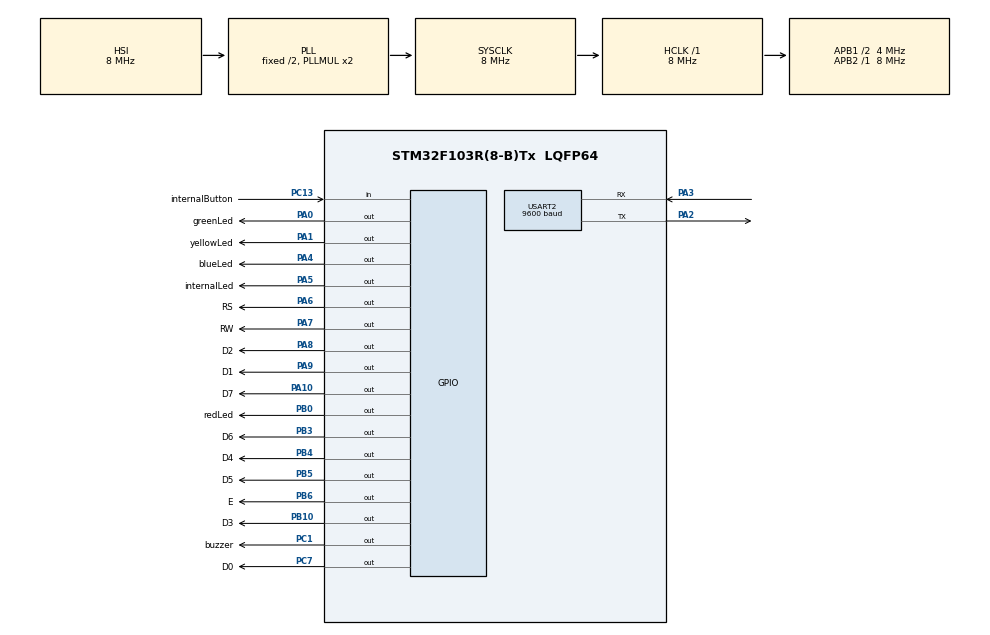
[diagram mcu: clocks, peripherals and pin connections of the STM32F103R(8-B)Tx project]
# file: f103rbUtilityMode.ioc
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Mcu.Family=STM32F1
Dma.USART2_TX.1.MemInc=DMA_MINC_ENABLE
PA6.GPIO_Label=RS
PB0.GPIO_Label=redLed
PB6.GPIO_Label=E
RCC.SYSCLKSource=RCC_SYSCLKSOURCE_PLLCLK
ProjectManager.StackSize=0x400
PD1-OSC_OUT.Signal=RCC_OSC_OUT
Dma.USART2_RX.0.Priority=DMA_PRIORITY_HIGH
Dma.USART2_RX.0.PeriphDataAlignment=DMA_PDATAALIGN_WORD
RCC.HCLKFreq_Value=8000000
RCC.APB2TimFreq_Value=8000000
PB6.Signal=GPIO_Output
PC7.Signal=GPIO_Output
Dma.USART2_TX.1.Mode=DMA_CIRCULAR
PA1.GPIO_PuPd=GPIO_PULLDOWN
RCC.AHBFreq_Value=8000000
PA4.GPIO_PuPd=GPIO_PULLDOWN
PC1.GPIO_PuPd=GPIO_PULLDOWN
RCC.RTCClockSelection=RCC_RTCCLKSOURCE_LSE
Dma.USART2_RX.0.MemDataAlignment=DMA_MDATAALIGN_WORD
PC14-OSC32_IN.Mode=LSE-External-Oscillator
PA14.Mode=Serial_Wire
Dma.USART2_TX.1.Instance=DMA1_Channel7
PA5.GPIO_PuPd=GPIO_PULLDOWN
PA10.GPIO_Label=D7
Dma.USART2_RX.0.Instance=DMA1_Channel6
PA8.Signal=GPIO_Output
Mcu.Package=LQFP64
PA6.Signal=GPIO_Output
Dma.USART2_RX.0.PeriphInc=DMA_PINC_DISABLE
USART2.VirtualMode=VM_ASYNC
PC13-TAMPER-RTC.GPIO_PuPd=GPIO_PULLDOWN
PA10.Signal=GPIO_Output
PB5.GPIO_Label=D5
Dma.Request1=USART2_TX
RCC.APB1TimFreq_Value=8000000
Dma.Request0=USART2_RX
PA4.GPIO_Label=blueLed
PB4.Signal=GPIO_Output
PA3.Signal=USART2_RX
PB3.GPIO_Label=D6
PC15-OSC32_OUT.Mode=LSE-External-Oscillator
NVIC.DMA1_Channel6_IRQn=true\:0\:0\:false\:false\:true\:false\:true
Dma.USART2_TX.1.Priority=DMA_PRIORITY_LOW
PD1-OSC_OUT.Mode=HSE-External-Clock-Source
PA9.GPIO_Label=D1
Dma.USART2_RX.0.Direction=DMA_PERIPH_TO_MEMORY
PC13-TAMPER-RTC.Signal=GPIO_Input
PD0-OSC_IN.Signal=RCC_OSC_IN
RCC.APB1CLKDivider=RCC_HCLK_DIV2
PC14-OSC32_IN.Signal=RCC_OSC32_IN
Dma.USART2_TX.1.PeriphDataAlignment=DMA_PDATAALIGN_WORD
USART2.BaudRate=9600
PA0-WKUP.GPIO_Label=greenLed
PA0-WKUP.Signal=GPIO_Output
Dma.USART2_RX.0.Mode=DMA_CIRCULAR
PA13.Signal=SYS_JTMS-SWDIO
PA3.Mode=Asynchronous
PA8.GPIO_Label=D2
ProjectManager.TargetToolchain=STM32CubeIDE
PB10.GPIO_Label=D3
PA9.Signal=GPIO_Output
RCC.USBFreq_Value=8000000
PC15-OSC32_OUT.Signal=RCC_OSC32_OUT
PA1.Signal=GPIO_Output
PD0-OSC_IN.Mode=HSE-External-Clock-Source
PB10.Signal=GPIO_Output
PA5.Signal=GPIO_Output
Dma.USART2_TX.1.PeriphInc=DMA_PINC_DISABLE
board=NUCLEO-F103RB
PC13-TAMPER-RTC.GPIO_Label=internalButton
Dma.USART2_TX.1.Direction=DMA_MEMORY_TO_PERIPH
RCC.APB2Freq_Value=8000000
PB4.GPIO_Label=D4
PA1.GPIO_Label=yellowLed
PC1.GPIO_Label=buzzer
PA13.Mode=Serial_Wire
Mcu.Name=STM32F103R(8-B)Tx
Dma.USART2_RX.0.MemInc=DMA_MINC_ENABLE
PA2.Signal=USART2_TX
PC7.GPIO_Label=D0
PB3.Signal=GPIO_Output
PA4.Signal=GPIO_Output
RCC.SYSCLKFreq_VALUE=8000000
PB5.Signal=GPIO_Output
PA7.GPIO_Label=RW
PA5.GPIO_Label=internalLed
PA14.Signal=SYS_JTCK-SWCLK
ProjectManager.HeapSize=0x200
NVIC.PriorityGroup=NVIC_PRIORITYGROUP_4
PA2.Mode=Asynchronous
PA0-WKUP.GPIO_PuPd=GPIO_PULLDOWN
NVIC.DMA1_Channel7_IRQn=true\:0\:0\:false\:false\:true\:false\:true
Dma.USART2_TX.1.MemDataAlignment=DMA_MDATAALIGN_WORD
RCC.APB1Freq_Value=4000000
PB0.Signal=GPIO_Output
PC1.Signal=GPIO_Output
PB0.GPIO_PuPd=GPIO_PULLDOWN
PA7.Signal=GPIO_Output

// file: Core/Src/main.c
/* USER CODE BEGIN Header */
/**
 ******************************************************************************
 * @file           : main.c
 * @brief          : Main program body
 ******************************************************************************
 * @attention
 *
 * <h2><center>&copy; Copyright (c) 2021 STMicroelectronics.
 * All rights reserved.</center></h2>
 *
 * This software component is licensed by ST under BSD 3-Clause license,
 * the "License"; You may not use this file except in compliance with the
 * License. You may obtain a copy of the License at:
 *                        opensource.org/licenses/BSD-3-Clause
 *
 ******************************************************************************
 */
/* USER CODE END Header */
#include "main.h"

/* USER CODE BEGIN PD */
#define CIFTEWAIT 75
#define BUZWAIT 200
#define TRIPLEWAIT 100
/* USER CODE END PD */

UART_HandleTypeDef huart2;
DMA_HandleTypeDef hdma_usart2_rx;
DMA_HandleTypeDef hdma_usart2_tx;

/* USER CODE BEGIN PV */
uint8_t veri;
int mod;
/* USER CODE END PV */

void SystemClock_Config(void);
static void MX_GPIO_Init(void);
static void MX_DMA_Init(void);
static void MX_USART2_UART_Init(void);
/* USER CODE BEGIN PFP */
void funcCifte(void);
void funcBuz(void);
void funcTriple(void);
/* USER CODE END PFP */

int main(void)
{

	/* MCU Configuration--------------------------------------------------------*/

	/* Reset of all peripherals, Initializes the Flash interface and the Systick. */
	HAL_Init();

	/* Configure the system clock */
	SystemClock_Config();

	/* Initialize all configured peripherals */
	MX_GPIO_Init();
	MX_DMA_Init();
	MX_USART2_UART_Init();
	/* USER CODE BEGIN 2 */
	HAL_UART_Receive_DMA(&huart2, &veri, 1);
	/* USER CODE END 2 */

	/* Infinite loop */
	/* USER CODE BEGIN WHILE */
	while (1)
	{
		switch (mod) {
		case 1:
			HAL_GPIO_WritePin(buzzer_GPIO_Port, buzzer_Pin, 0);
			funcCifte();
			break;
		case 2:
			//buzzer on
			HAL_GPIO_WritePin(buzzer_GPIO_Port, buzzer_Pin, 1);
			funcBuz();
			break;
		case 3:
			HAL_GPIO_WritePin(buzzer_GPIO_Port, buzzer_Pin, 0);
			funcTriple();
			break;
		default:
			HAL_GPIO_WritePin(buzzer_GPIO_Port, buzzer_Pin, 0);
			break;
		}
		/* USER CODE END WHILE */

	}
}

void SystemClock_Config(void)
{
	RCC_OscInitTypeDef RCC_OscInitStruct = {0};
	RCC_ClkInitTypeDef RCC_ClkInitStruct = {0};

	/** Initializes the RCC Oscillators according to the specified parameters
	 * in the RCC_OscInitTypeDef structure.
	 */
	RCC_OscInitStruct.OscillatorType = RCC_OSCILLATORTYPE_HSI;
	RCC_OscInitStruct.HSIState = RCC_HSI_ON;
	RCC_OscInitStruct.HSICalibrationValue = RCC_HSICALIBRATION_DEFAULT;
	RCC_OscInitStruct.PLL.PLLState = RCC_PLL_ON;
	RCC_OscInitStruct.PLL.PLLSource = RCC_PLLSOURCE_HSI_DIV2;
	RCC_OscInitStruct.PLL.PLLMUL = RCC_PLL_MUL2;
	if (HAL_RCC_OscConfig(&RCC_OscInitStruct) != HAL_OK)
	{
		Error_Handler();
	}
	/** Initializes the CPU, AHB and APB buses clocks
	 */
	RCC_ClkInitStruct.ClockType = RCC_CLOCKTYPE_HCLK|RCC_CLOCKTYPE_SYSCLK
			|RCC_CLOCKTYPE_PCLK1|RCC_CLOCKTYPE_PCLK2;
	RCC_ClkInitStruct.SYSCLKSource = RCC_SYSCLKSOURCE_PLLCLK;
	RCC_ClkInitStruct.AHBCLKDivider = RCC_SYSCLK_DIV1;
	RCC_ClkInitStruct.APB1CLKDivider = RCC_HCLK_DIV2;
	RCC_ClkInitStruct.APB2CLKDivider = RCC_HCLK_DIV1;

	if (HAL_RCC_ClockConfig(&RCC_ClkInitStruct, FLASH_LATENCY_0) != HAL_OK)
	{
		Error_Handler();
	}
}

static void MX_USART2_UART_Init(void)
{

	huart2.Instance = USART2;
	huart2.Init.BaudRate = 9600;
	huart2.Init.WordLength = UART_WORDLENGTH_8B;
	huart2.Init.StopBits = UART_STOPBITS_1;
	huart2.Init.Parity = UART_PARITY_NONE;
	huart2.Init.Mode = UART_MODE_TX_RX;
	huart2.Init.HwFlowCtl = UART_HWCONTROL_NONE;
	huart2.Init.OverSampling = UART_OVERSAMPLING_16;
	if (HAL_UART_Init(&huart2) != HAL_OK)
	{
		Error_Handler();
	}

}

static void MX_DMA_Init(void)
{

	/* DMA controller clock enable */
	__HAL_RCC_DMA1_CLK_ENABLE();

	/* DMA interrupt init */
	/* DMA1_Channel6_IRQn interrupt configuration */
	HAL_NVIC_SetPriority(DMA1_Channel6_IRQn, 0, 0);
	HAL_NVIC_EnableIRQ(DMA1_Channel6_IRQn);
	/* DMA1_Channel7_IRQn interrupt configuration */
	HAL_NVIC_SetPriority(DMA1_Channel7_IRQn, 0, 0);
	HAL_NVIC_EnableIRQ(DMA1_Channel7_IRQn);

}

static void MX_GPIO_Init(void)
{
	GPIO_InitTypeDef GPIO_InitStruct = {0};

	/* GPIO Ports Clock Enable */
	__HAL_RCC_GPIOC_CLK_ENABLE();
	__HAL_RCC_GPIOD_CLK_ENABLE();
	__HAL_RCC_GPIOA_CLK_ENABLE();
	__HAL_RCC_GPIOB_CLK_ENABLE();

	/*Configure GPIO pin Output Level */
	HAL_GPIO_WritePin(GPIOC, buzzer_Pin|D0_Pin, GPIO_PIN_RESET);

	/*Configure GPIO pin Output Level */
	HAL_GPIO_WritePin(GPIOA, greenLed_Pin|yellowLed_Pin|blueLed_Pin|internalLed_Pin
			|RS_Pin|RW_Pin|D2_Pin|D1_Pin
			|D7_Pin, GPIO_PIN_RESET);

	/*Configure GPIO pin Output Level */
	HAL_GPIO_WritePin(GPIOB, redLed_Pin|D3_Pin|D6_Pin|D4_Pin
			|D5_Pin|E_Pin, GPIO_PIN_RESET);

	/*Configure GPIO pin : internalButton_Pin */
	GPIO_InitStruct.Pin = internalButton_Pin;
	GPIO_InitStruct.Mode = GPIO_MODE_INPUT;
	GPIO_InitStruct.Pull = GPIO_PULLDOWN;
	HAL_GPIO_Init(internalButton_GPIO_Port, &GPIO_InitStruct);

	/*Configure GPIO pin : buzzer_Pin */
	GPIO_InitStruct.Pin = buzzer_Pin;
	GPIO_InitStruct.Mode = GPIO_MODE_OUTPUT_PP;
	GPIO_InitStruct.Pull = GPIO_PULLDOWN;
	GPIO_InitStruct.Speed = GPIO_SPEED_FREQ_LOW;
	HAL_GPIO_Init(buzzer_GPIO_Port, &GPIO_InitStruct);

	/*Configure GPIO pins : greenLed_Pin yellowLed_Pin blueLed_Pin internalLed_Pin */
	GPIO_InitStruct.Pin = greenLed_Pin|yellowLed_Pin|blueLed_Pin|internalLed_Pin;
	GPIO_InitStruct.Mode = GPIO_MODE_OUTPUT_PP;
	GPIO_InitStruct.Pull = GPIO_PULLDOWN;
	GPIO_InitStruct.Speed = GPIO_SPEED_FREQ_LOW;
	HAL_GPIO_Init(GPIOA, &GPIO_InitStruct);

	/*Configure GPIO pins : RS_Pin RW_Pin D2_Pin D1_Pin
                           D7_Pin */
	GPIO_InitStruct.Pin = RS_Pin|RW_Pin|D2_Pin|D1_Pin
			|D7_Pin;
	GPIO_InitStruct.Mode = GPIO_MODE_OUTPUT_PP;
	GPIO_InitStruct.Pull = GPIO_NOPULL;
	GPIO_InitStruct.Speed = GPIO_SPEED_FREQ_LOW;
	HAL_GPIO_Init(GPIOA, &GPIO_InitStruct);

	/*Configure GPIO pin : redLed_Pin */
	GPIO_InitStruct.Pin = redLed_Pin;
	GPIO_InitStruct.Mode = GPIO_MODE_OUTPUT_PP;
	GPIO_InitStruct.Pull = GPIO_PULLDOWN;
	GPIO_InitStruct.Speed = GPIO_SPEED_FREQ_LOW;
	HAL_GPIO_Init(redLed_GPIO_Port, &GPIO_InitStruct);

	/*Configure GPIO pins : D3_Pin D6_Pin D4_Pin D5_Pin
                           E_Pin */
	GPIO_InitStruct.Pin = D3_Pin|D6_Pin|D4_Pin|D5_Pin
			|E_Pin;
	GPIO_InitStruct.Mode = GPIO_MODE_OUTPUT_PP;
	GPIO_InitStruct.Pull = GPIO_NOPULL;
	GPIO_InitStruct.Speed = GPIO_SPEED_FREQ_LOW;
	HAL_GPIO_Init(GPIOB, &GPIO_InitStruct);

	/*Configure GPIO pin : D0_Pin */
	GPIO_InitStruct.Pin = D0_Pin;
	GPIO_InitStruct.Mode = GPIO_MODE_OUTPUT_PP;
	GPIO_InitStruct.Pull = GPIO_NOPULL;
	GPIO_InitStruct.Speed = GPIO_SPEED_FREQ_LOW;
	HAL_GPIO_Init(D0_GPIO_Port, &GPIO_InitStruct);

}

/* USER CODE BEGIN 4 */
void funcCifte(void)
{
	//blue led
	HAL_GPIO_WritePin(blueLed_GPIO_Port, blueLed_Pin,1);
	HAL_Delay(CIFTEWAIT);
	HAL_GPIO_WritePin(blueLed_GPIO_Port, blueLed_Pin,0);
	HAL_Delay(CIFTEWAIT);
	HAL_GPIO_WritePin(blueLed_GPIO_Port, blueLed_Pin,1);
	HAL_Delay(CIFTEWAIT);
	HAL_GPIO_WritePin(blueLed_GPIO_Port, blueLed_Pin,0);
	HAL_Delay(CIFTEWAIT);
	//red led
	HAL_GPIO_WritePin(redLed_GPIO_Port, redLed_Pin,1);
	HAL_Delay(CIFTEWAIT);
	HAL_GPIO_WritePin(redLed_GPIO_Port, redLed_Pin,0);
	HAL_Delay(CIFTEWAIT);
	HAL_GPIO_WritePin(redLed_GPIO_Port, redLed_Pin,1);
	HAL_Delay(CIFTEWAIT);
	HAL_GPIO_WritePin(redLed_GPIO_Port, redLed_Pin,0);
	HAL_Delay(CIFTEWAIT);
}
void funcBuz(void)
{
	//blue led
	HAL_GPIO_WritePin(blueLed_GPIO_Port, blueLed_Pin,1);
	HAL_GPIO_WritePin(redLed_GPIO_Port, redLed_Pin,0);
	HAL_Delay(BUZWAIT);
	//red led
	HAL_GPIO_WritePin(blueLed_GPIO_Port, blueLed_Pin,0);
	HAL_GPIO_WritePin(redLed_GPIO_Port, redLed_Pin,1);
	HAL_Delay(BUZWAIT);
	//clear
	HAL_GPIO_WritePin(blueLed_GPIO_Port, blueLed_Pin,0);
	HAL_GPIO_WritePin(redLed_GPIO_Port, redLed_Pin,0);
}
void funcTriple(void)
{
	HAL_GPIO_WritePin(yellowLed_GPIO_Port, yellowLed_Pin, 1);
	if (HAL_GPIO_ReadPin(internalButton_GPIO_Port, internalButton_Pin)==GPIO_PIN_SET)
	{
		HAL_GPIO_WritePin(greenLed_GPIO_Port, greenLed_Pin, 1);
		HAL_Delay(TRIPLEWAIT);
		HAL_GPIO_WritePin(greenLed_GPIO_Port, greenLed_Pin, 0);
		HAL_Delay(TRIPLEWAIT);
	}
	HAL_GPIO_WritePin(yellowLed_GPIO_Port, yellowLed_Pin, 0);
}
/* USER CODE END 4 */

void Error_Handler(void)
{
	__disable_irq();
	while (1)
	{
	}
}

/************************ (C) COPYRIGHT STMicroelectronics *****END OF FILE****/
